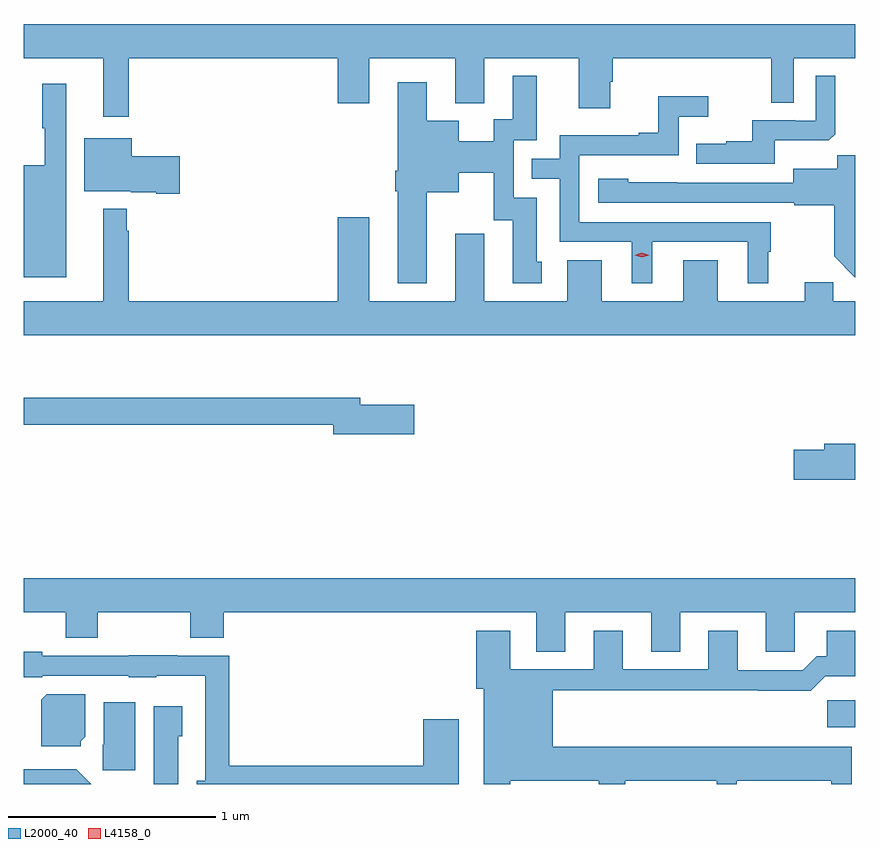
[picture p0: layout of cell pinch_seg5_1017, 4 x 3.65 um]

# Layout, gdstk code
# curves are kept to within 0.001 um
import gdstk
lib = gdstk.Library(unit=1e-6, precision=1e-09)
def R(c, l, rs):  # rectangles x0, y0, x1, y1
    for r in rs: c.add(gdstk.rectangle(r[:2], r[2:], *l))
def P(c, l, *ps):  # polygons
    for p in ps: c.add(gdstk.Polygon(p, *l))
L2000_40 = (2000, 40)
L4158_0 = (4158, 0)

pinch_seg5_1017 = lib.new_cell('pinch_seg5_1017')
R(pinch_seg5_1017, L2000_40, [(650.568,845.552,650.704,845.681)])
P(pinch_seg5_1017, L2000_40, [(646.704,848.768),(647.087,848.768),(647.087,848.487),(647.209,848.487),(647.209,848.768),(648.215,848.768),(648.215,848.55),(648.367,848.55),(648.367,848.768),(648.779,848.768),(648.779,848.552),(648.919,848.552),(648.919,848.768),(649.373,848.768),(649.373,848.526),(649.525,848.526),(649.525,848.655),(649.538,848.655),(649.538,848.768),(650.298,848.768),(650.298,848.554),(650.406,848.554),(650.406,848.768),(650.704,848.768),(650.704,848.932),(646.704,848.932)],
  [(650.317,848.372),(650.575,848.372),(650.607,848.403),(650.607,848.683),(650.514,848.683),(650.514,848.466),(650.414,848.466),(650.414,848.469),(650.207,848.469),(650.207,848.368),(650.083,848.368),(650.083,848.356),(649.939,848.356),(649.939,848.259),(650.317,848.259)],
  [(648.643,848.123),(648.796,848.123),(648.796,848.216),(648.966,848.216),(648.966,847.989),(649.055,847.989),(649.055,847.686),(649.195,847.686),(649.195,847.788),(649.171,847.788),(649.171,848.097),(649.062,848.097),(649.062,848.373),(649.171,848.373),(649.171,848.683),(649.055,848.683),(649.055,848.474),(648.965,848.474),(648.965,848.368),(648.796,848.368),(648.796,848.467),(648.643,848.467),(648.643,848.653),(648.503,848.653),(648.503,848.227),(648.491,848.227),(648.491,848.127),(648.503,848.127),(648.503,847.685),(648.643,847.685)],
  [(646.909,848.644),(646.795,848.644),(646.795,848.43),(646.805,848.43),(646.805,848.252),(646.704,848.252),(646.704,847.715),(646.909,847.715)],
  [(649.726,847.884),(650.186,847.884),(650.186,847.685),(650.284,847.685),(650.284,847.836),(650.296,847.836),(650.296,847.98),(649.377,847.98),(649.377,848.301),(649.854,848.301),(649.854,848.486),(649.996,848.486),(649.996,848.585),(649.756,848.585),(649.756,848.41),(649.661,848.41),(649.661,848.397),(649.281,848.397),(649.281,848.283),(649.147,848.283),(649.147,848.187),(649.281,848.187),(649.281,847.884),(649.628,847.884),(649.628,847.685),(649.726,847.685)],
  [(647.455,848.295),(647.224,848.295),(647.224,848.383),(646.997,848.383),(646.997,848.129),(647.22,848.129),(647.22,848.123),(647.342,848.123),(647.342,848.117),(647.455,848.117)],
  [(650.704,848.3),(650.616,848.3),(650.616,848.236),(650.405,848.236),(650.405,848.169),(649.611,848.17),(649.611,848.188),(649.467,848.188),(649.467,848.073),(650.409,848.073),(650.409,848.061),(650.601,848.061),(650.601,847.815),(650.701,847.715),(650.704,847.715)],
  [(650.704,847.6),(650.597,847.6),(650.597,847.691),(650.459,847.691),(650.459,847.6),(650.041,847.6),(650.041,847.795),(649.877,847.795),(649.877,847.6),(649.483,847.6),(649.483,847.795),(649.319,847.795),(649.319,847.6),(648.919,847.6),(648.919,847.924),(648.779,847.924),(648.779,847.6),(648.367,847.6),(648.367,848.002),(648.215,848.002),(648.215,847.6),(647.209,847.6),(647.209,847.937),(647.201,847.937),(647.201,848.044),(647.087,848.044),(647.087,847.6),(646.704,847.6),(646.704,847.436),(650.704,847.436)],
  [(648.583,847.101),(648.322,847.101),(648.322,847.135),(646.704,847.135),(646.704,847.006),(648.194,847.006),(648.194,846.959),(648.583,846.959)],
  [(650.704,846.914),(650.555,846.914),(650.555,846.884),(650.406,846.884),(650.406,846.742),(650.704,846.742)],
  [(649.309,846.104),(649.721,846.104),(649.721,845.914),(649.861,845.914),(649.861,846.104),(650.273,846.104),(650.273,845.914),(650.412,845.914),(650.412,846.104),(650.704,846.104),(650.704,846.268),(646.704,846.268),(646.704,846.104),(646.906,846.104),(646.906,845.98),(647.061,845.98),(647.061,846.104),(647.506,846.104),(647.506,845.98),(647.666,845.98),(647.666,846.104),(649.169,846.104),(649.169,845.914),(649.309,845.914)],
  [(649.045,845.294),(649.469,845.294),(649.469,845.278),(649.597,845.278),(649.597,845.294),(650.036,845.294),(650.036,845.278),(650.134,845.278),(650.134,845.294),(650.588,845.294),(650.588,845.278),(650.686,845.278),(650.686,845.458),(649.249,845.458),(649.249,845.728),(650.233,845.728),(650.233,845.726),(650.489,845.726),(650.558,845.795),(650.704,845.795),(650.704,846.016),(650.567,846.016),(650.567,845.893),(650.518,845.893),(650.451,845.826),(650.137,845.826),(650.137,846.016),(649.997,846.016),(649.997,845.829),(649.585,845.829),(649.585,846.016),(649.445,846.016),(649.445,845.829),(649.045,845.829),(649.045,846.016),(648.881,846.016),(648.881,845.736),(648.917,845.736),(648.917,845.278),(649.045,845.278)],
  [(648.796,845.59),(648.626,845.59),(648.626,845.366),(647.693,845.366),(647.693,845.895),(647.443,845.895),(647.443,845.897),(647.211,845.897),(647.211,845.895),(646.794,845.895),(646.794,845.914),(646.704,845.914),(646.704,845.792),(646.794,845.792),(646.794,845.799),(647.211,845.799),(647.211,845.792),(647.343,845.792),(647.343,845.798),(647.577,845.798),(647.577,845.294),(647.537,845.294),(647.537,845.278),(648.796,845.278)],
  [(646.98,845.484),(647.002,845.506),(647.002,845.71),(646.816,845.71),(646.79,845.684),(646.79,845.459),(646.98,845.459)],
  [(647.242,845.671),(647.09,845.671),(647.09,845.466),(647.086,845.466),(647.086,845.343),(647.242,845.343)],
  [(647.449,845.508),(647.467,845.508),(647.467,845.653),(647.33,845.653),(647.33,845.278),(647.449,845.278)],
  [(646.958,845.35),(646.704,845.35),(646.704,845.278),(647.03,845.278)])
P(pinch_seg5_1017, L4158_0, [(649.677,847.811),(649.642,847.821),(649.641,847.821),(649.642,847.821),(649.677,847.831),(649.712,847.821),(649.713,847.821),(649.712,847.821)])

lib.write_gds('pinch_seg5_1017.gds')
